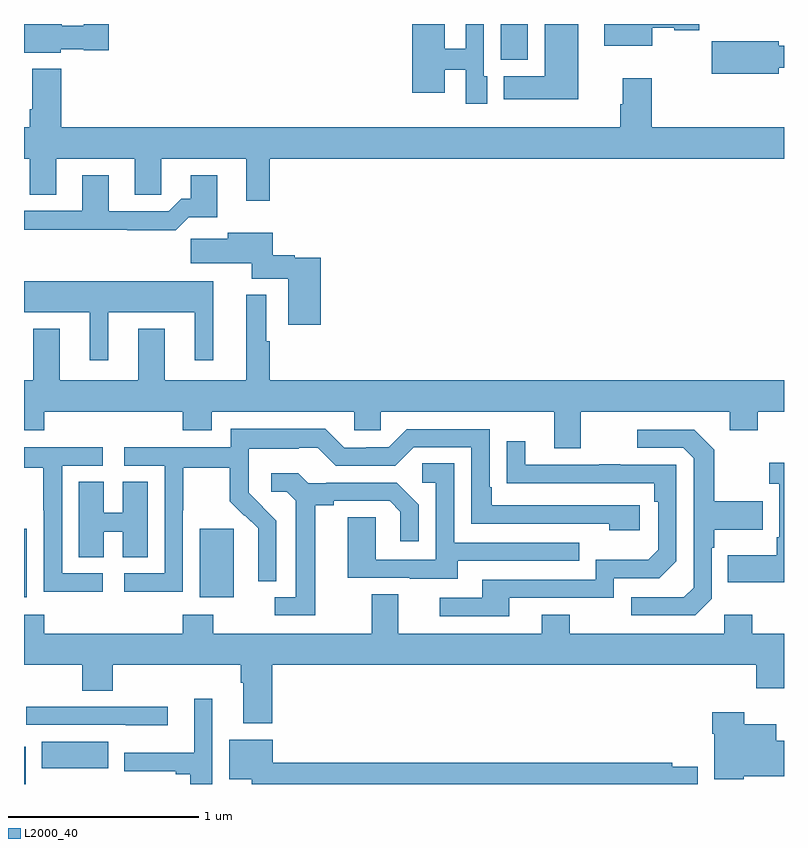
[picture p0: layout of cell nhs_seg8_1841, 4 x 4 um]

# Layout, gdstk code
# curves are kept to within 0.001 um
import gdstk
lib = gdstk.Library(unit=1e-6, precision=1e-09)
def R(c, l, rs):  # rectangles x0, y0, x1, y1
    for r in rs: c.add(gdstk.rectangle(r[:2], r[2:], *l))
def P(c, l, *ps):  # polygons
    for p in ps: c.add(gdstk.Polygon(p, *l))
L2000_40 = (2000, 40)

nhs_seg8_1841 = lib.new_cell('nhs_seg8_1841')
R(nhs_seg8_1841, L2000_40, [(229,1087.9,229.008,1088.095), (229.093,1087.982,229.443,1088.122), (229,1088.882,229.015,1089.243), (229.925,1088.882,230.104,1089.243), (231.509,1091.711,231.652,1091.9)])
P(nhs_seg8_1841, L2000_40, [(229.194,1091.768),(229.314,1091.768),(229.314,1091.761),(229.447,1091.761),(229.447,1091.9),(229.314,1091.9),(229.314,1091.89),(229.198,1091.89),(229.198,1091.9),(229,1091.9),(229,1091.75),(229.194,1091.75)],
  [(231.439,1091.625),(231.42,1091.625),(231.42,1091.9),(231.324,1091.9),(231.324,1091.769),(231.214,1091.769),(231.214,1091.899),(231.044,1091.899),(231.044,1091.538),(231.214,1091.538),(231.214,1091.658),(231.324,1091.658),(231.324,1091.481),(231.439,1091.481)],
  [(231.916,1091.9),(231.74,1091.9),(231.74,1091.626),(231.524,1091.626),(231.524,1091.504),(231.916,1091.504)],
  [(232.306,1091.879),(232.422,1091.879),(232.422,1091.867),(232.555,1091.867),(232.555,1091.9),(232.055,1091.9),(232.055,1091.786),(232.306,1091.786)],
  [(232.972,1091.67),(233,1091.67),(233,1091.786),(232.972,1091.786),(232.972,1091.81),(232.62,1091.81),(232.62,1091.639),(232.972,1091.639)],
  [(230.293,1091.192),(233,1091.192),(233,1091.356),(232.304,1091.356),(232.304,1091.614),(232.151,1091.614),(232.151,1091.477),(232.139,1091.477),(232.139,1091.356),(229.196,1091.356),(229.196,1091.665),(229.043,1091.665),(229.043,1091.452),(229.031,1091.452),(229.031,1091.356),(229,1091.356),(229,1091.192),(229.031,1091.192),(229.031,1091.002),(229.171,1091.002),(229.171,1091.192),(229.583,1091.192),(229.583,1091.002),(229.722,1091.002),(229.722,1091.192),(230.171,1091.192),(230.171,1090.971),(230.293,1090.971)],
  [(229.868,1090.883),(230.017,1090.883),(230.017,1091.104),(229.877,1091.104),(229.877,1090.981),(229.828,1090.981),(229.761,1090.914),(229.447,1090.914),(229.447,1091.104),(229.307,1091.104),(229.307,1090.917),(229,1090.917),(229,1090.816),(229.543,1090.816),(229.543,1090.814),(229.799,1090.814)],
  [(230.561,1090.669),(230.424,1090.669),(230.424,1090.682),(230.308,1090.682),(230.308,1090.801),(230.072,1090.801),(230.072,1090.769),(229.878,1090.769),(229.878,1090.64),(230.198,1090.64),(230.198,1090.559),(230.39,1090.559),(230.39,1090.317),(230.561,1090.317)],
  [(229.444,1090.382),(229.898,1090.382),(229.898,1090.131),(229.996,1090.131),(229.996,1090.546),(229,1090.546),(229,1090.382),(229.346,1090.382),(229.346,1090.131),(229.444,1090.131)],
  [(231.931,1089.86),(232.715,1089.86),(232.715,1089.761),(232.863,1089.761),(232.863,1089.86),(233,1089.86),(233,1090.024),(230.293,1090.024),(230.293,1090.229),(230.275,1090.229),(230.275,1090.474),(230.171,1090.474),(230.171,1090.024),(229.741,1090.024),(229.741,1090.297),(229.601,1090.297),(229.601,1090.024),(229.189,1090.024),(229.189,1090.297),(229.049,1090.297),(229.049,1090.024),(229,1090.024),(229,1089.761),(229.106,1089.761),(229.106,1089.86),(229.835,1089.86),(229.835,1089.761),(229.987,1089.761),(229.987,1089.86),(230.739,1089.86),(230.739,1089.762),(230.877,1089.762),(230.877,1089.86),(231.791,1089.86),(231.791,1089.666),(231.931,1089.666)],
  [(229.836,1089.34),(229.839,1089.34),(229.839,1089.564),(230.083,1089.564),(230.083,1089.389),(230.16,1089.312),(230.163,1089.315),(230.234,1089.245),(230.234,1089.122),(230.232,1089.122),(230.232,1088.968),(230.328,1088.968),(230.328,1089.286),(230.182,1089.434),(230.182,1089.531),(230.184,1089.531),(230.184,1089.665),(230.447,1089.665),(230.447,1089.669),(230.547,1089.669),(230.64,1089.576),(230.955,1089.576),(231.051,1089.672),(231.354,1089.672),(231.354,1089.27),(232.079,1089.27),(232.079,1089.236),(232.24,1089.236),(232.24,1089.366),(231.463,1089.366),(231.463,1089.463),(231.45,1089.463),(231.45,1089.768),(231.015,1089.768),(230.919,1089.672),(230.801,1089.672),(230.801,1089.669),(230.685,1089.669),(230.585,1089.769),(230.088,1089.769),(230.088,1089.672),(229.527,1089.672),(229.527,1089.576),(229.74,1089.576),(229.74,1089.009),(229.527,1089.009),(229.527,1088.911),(229.836,1088.911)],
  [(232.62,1088.874),(232.62,1089.143),(232.633,1089.143),(232.633,1089.239),(232.889,1089.239),(232.889,1089.387),(232.633,1089.387),(232.633,1089.659),(232.527,1089.765),(232.227,1089.765),(232.227,1089.669),(232.47,1089.669),(232.524,1089.615),(232.524,1088.934),(232.473,1088.883),(232.197,1088.883),(232.197,1088.787),(232.533,1088.787)],
  [(231.553,1088.88),(232.104,1088.88),(232.104,1088.982),(232.344,1088.982),(232.434,1089.072),(232.434,1089.579),(232.139,1089.579),(232.139,1089.584),(232.027,1089.584),(232.027,1089.579),(231.637,1089.579),(231.637,1089.703),(231.541,1089.703),(231.541,1089.484),(232.318,1089.483),(232.318,1089.386),(232.338,1089.386),(232.338,1089.132),(232.285,1089.079),(232.008,1089.079),(232.008,1088.976),(231.413,1088.976),(231.413,1088.88),(231.189,1088.88),(231.189,1088.784),(231.553,1088.784)],
  [(229.414,1089.009),(229.2,1089.009),(229.2,1089.576),(229.414,1089.576),(229.414,1089.672),(229,1089.672),(229,1089.564),(229.102,1089.564),(229.102,1089.34),(229.104,1089.34),(229.104,1088.911),(229.414,1088.911)],
  [(233,1089.592),(232.923,1089.592),(232.923,1089.479),(232.974,1089.479),(232.974,1089.199),(232.962,1089.199),(232.962,1089.103),(232.705,1089.103),(232.705,1088.963),(233,1088.963)],
  [(231.283,1089.075),(231.923,1089.075),(231.923,1089.171),(231.264,1089.171),(231.264,1089.587),(231.096,1089.587),(231.096,1089.486),(231.168,1089.486),(231.168,1089.081),(230.85,1089.081),(230.85,1089.305),(230.705,1089.305),(230.705,1088.985),(231.029,1088.985),(231.029,1088.981),(231.283,1088.981)],
  [(230.533,1089.368),(230.629,1089.368),(230.629,1089.39),(230.924,1089.39),(230.981,1089.333),(230.981,1089.177),(231.078,1089.177),(231.078,1089.37),(230.962,1089.486),(230.59,1089.486),(230.59,1089.483),(230.496,1089.483),(230.444,1089.535),(230.301,1089.535),(230.301,1089.438),(230.382,1089.438),(230.429,1089.391),(230.429,1088.883),(230.319,1088.883),(230.319,1088.787),(230.533,1088.787)],
  [(229.42,1089.227),(229.52,1089.227),(229.52,1089.094),(229.651,1089.094),(229.651,1089.491),(229.52,1089.491),(229.52,1089.327),(229.42,1089.327),(229.42,1089.491),(229.289,1089.491),(229.289,1089.094),(229.42,1089.094)],
  [(230.306,1088.528),(232.853,1088.528),(232.853,1088.404),(233,1088.404),(233,1088.692),(232.833,1088.692),(232.833,1088.791),(232.686,1088.791),(232.686,1088.692),(231.873,1088.692),(231.873,1088.791),(231.725,1088.791),(231.725,1088.692),(230.971,1088.692),(230.971,1088.9),(230.831,1088.9),(230.831,1088.692),(229.995,1088.692),(229.995,1088.791),(229.835,1088.791),(229.835,1088.692),(229.106,1088.692),(229.106,1088.791),(229,1088.791),(229,1088.528),(229.306,1088.528),(229.306,1088.392),(229.466,1088.392),(229.466,1088.528),(230.141,1088.528),(230.141,1088.432),(230.153,1088.432),(230.153,1088.219),(230.306,1088.219)],
  [(229.992,1088.35),(229.895,1088.35),(229.895,1088.065),(229.528,1088.065),(229.528,1087.966),(229.799,1087.966),(229.799,1087.952),(229.876,1087.952),(229.876,1087.9),(229.992,1087.9)],
  [(229.756,1088.307),(229.011,1088.307),(229.011,1088.211),(229.536,1088.211),(229.536,1088.21),(229.756,1088.21)],
  [(232.788,1087.94),(233,1087.94),(233,1088.128),(232.96,1088.128),(232.96,1088.215),(232.792,1088.215),(232.792,1088.278),(232.622,1088.278),(232.622,1088.165),(232.634,1088.165),(232.634,1087.925),(232.788,1087.925)],
  [(232.546,1087.992),(232.412,1087.992),(232.412,1088.012),(230.308,1088.012),(230.308,1088.134),(230.081,1088.134),(230.081,1087.925),(230.198,1087.925),(230.198,1087.9),(232.546,1087.9)])

lib.write_gds('nhs_seg8_1841.gds')
